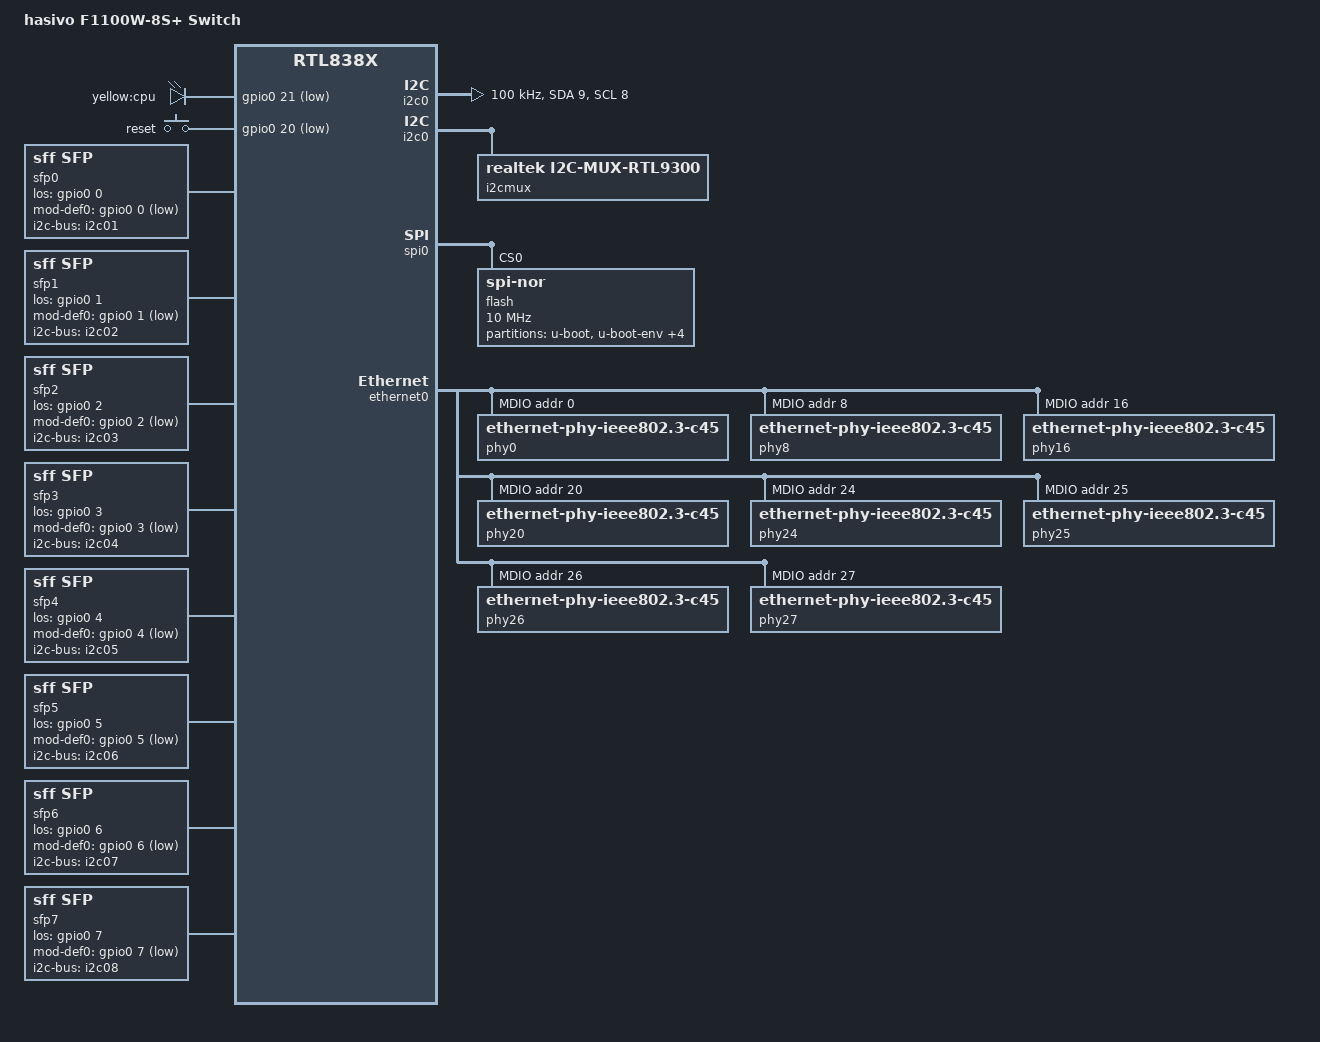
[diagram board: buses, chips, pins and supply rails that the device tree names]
// SPDX-License-Identifier: GPL-2.0-or-later
/dts-v1/;

#include "rtl930x.dtsi"

#include <dt-bindings/input/input.h>
#include <dt-bindings/gpio/gpio.h>

/ {
	compatible = "hasivo,f1100w-8splus", "realtek,rtl838x-soc";
	model = "hasivo F1100W-8S+ Switch";

	aliases {
		led-boot = &led_cpu;
		led-failsafe = &led_cpu;
		led-running = &led_cpu;
		led-upgrade = &led_cpu;
	};

	leds {
		compatible = "gpio-leds";

		led_cpu: led {
			label = "yellow:cpu";
			gpios = <&gpio0 21 GPIO_ACTIVE_LOW>;
		};
    };

	led_set: led_set@0 {
		compatible = "realtek,rtl9300-leds";
		led_set0 = <0xffff 0x0a01 0x0a01 0x0ba0>;
	};

	keys {
		compatible = "gpio-keys-polled";
		poll-interval = <20>;

		reset {
			label = "reset";
			gpios = <&gpio0 20 GPIO_ACTIVE_LOW>;
			linux,code = <KEY_RESTART>;
		};
	};

	i2c0: i2c-rtl9300 {
		compatible = "realtek,rtl9300-i2c";
		reg = <0x1b00036c 0x3c>;
		#address-cells = <1>;
		#size-cells = <0>;
		sda-pin = <9>;
		scl-pin = <8>;
		clock-frequency = <100000>;
	};

	i2cmux {
		compatible = "realtek,i2c-mux-rtl9300";
		#address-cells = <1>;
		#size-cells = <0>;
		i2c-parent = <&i2c0>;

		i2c01: i2c-rtl9300-1 {
			reg = <1>;
			#address-cells = <1>;
			#size-cells = <0>;
			sda-pin = <9>;
			scl-pin = <8>;
		};

		i2c02: i2c-rtl9300-2 {
			reg = <2>;
			#address-cells = <1>;
			#size-cells = <0>;
			sda-pin = <10>;
			scl-pin = <8>;
		};

		i2c03: i2c-rtl9300-3 {
			reg = <3>;
			#address-cells = <1>;
			#size-cells = <0>;
			sda-pin = <11>;
			scl-pin = <8>;
		};
		
		i2c04: i2c-rtl9300-4 {
			reg = <4>;
			#address-cells = <1>;
			#size-cells = <0>;
			sda-pin = <12>;
			scl-pin = <8>;
		};

		i2c05: i2c-rtl9300-5 {
			reg = <5>;
			#address-cells = <1>;
			#size-cells = <0>;
			sda-pin = <13>;
			scl-pin = <8>;
		};

		i2c06: i2c-rtl9300-6 {
			reg = <6>;
			#address-cells = <1>;
			#size-cells = <0>;
			sda-pin = <14>;
			scl-pin = <8>;
		};

		i2c07: i2c-rtl9300-7 {
			reg = <7>;
			#address-cells = <1>;
			#size-cells = <0>;
			sda-pin = <15>;
			scl-pin = <8>;
		};
	
		i2c08: i2c-rtl9300-8 {
			reg = <8>;
			#address-cells = <1>;
			#size-cells = <0>;
			sda-pin = <16>;
			scl-pin = <8>;
		};
	};

	sfp0: sfp-p1 {
		compatible = "sff,sfp";
		i2c-bus = <&i2c01>;
		los-gpio = <&gpio0 0 GPIO_ACTIVE_HIGH>;
		mod-def0-gpio = <&gpio0 0 GPIO_ACTIVE_LOW>;
	};
	sfp1: sfp-p2 {
		compatible = "sff,sfp";
		i2c-bus = <&i2c02>;
		los-gpio = <&gpio0 1 GPIO_ACTIVE_HIGH>;
		mod-def0-gpio = <&gpio0 1 GPIO_ACTIVE_LOW>;
	};
	sfp2: sfp-p3 {
		compatible = "sff,sfp";
		i2c-bus = <&i2c03>;
		los-gpio = <&gpio0 2 GPIO_ACTIVE_HIGH>;
		mod-def0-gpio = <&gpio0 2 GPIO_ACTIVE_LOW>;
	};
	sfp3: sfp-p4 {
		compatible = "sff,sfp";
		i2c-bus = <&i2c04>;
		los-gpio = <&gpio0 3 GPIO_ACTIVE_HIGH>;
		mod-def0-gpio = <&gpio0 3 GPIO_ACTIVE_LOW>;
	};
	sfp4: sfp-p5 {
		compatible = "sff,sfp";
		i2c-bus = <&i2c05>;
		los-gpio = <&gpio0 4 GPIO_ACTIVE_HIGH>;
		mod-def0-gpio = <&gpio0 4 GPIO_ACTIVE_LOW>;
	};
	sfp5: sfp-p6 {
		compatible = "sff,sfp";
		i2c-bus = <&i2c06>;
		los-gpio = <&gpio0 5 GPIO_ACTIVE_HIGH>;
		mod-def0-gpio = <&gpio0 5 GPIO_ACTIVE_LOW>;
	};
	sfp6: sfp-p7 {
		compatible = "sff,sfp";
		i2c-bus = <&i2c07>;
		los-gpio = <&gpio0 6 GPIO_ACTIVE_HIGH>;
		mod-def0-gpio = <&gpio0 6 GPIO_ACTIVE_LOW>;
	};
	sfp7: sfp-p8 {
		compatible = "sff,sfp";
		i2c-bus = <&i2c08>;
		los-gpio = <&gpio0 7 GPIO_ACTIVE_HIGH>;
		mod-def0-gpio = <&gpio0 7 GPIO_ACTIVE_LOW>;
	};
};

&spi0 {
	status = "okay";
	flash@0 {
		compatible = "jedec,spi-nor";
		reg = <0>;
		spi-max-frequency = <10000000>;

		partitions {
			compatible = "fixed-partitions";
			#address-cells = <1>;
			#size-cells = <1>;

			partition@0 {
				label = "u-boot";
				reg = <0x0 0xe0000>;
				read-only;
			};
			partition@e0000 {
				label = "u-boot-env";
				reg = <0xe0000 0x10000>;
			};
			partition@f0000 {
				label = "u-boot-env2";
				reg = <0xf0000 0x10000>;
				read-only;
			};
			partition@100000 {
				label = "jffs";
				reg = <0x100000 0x100000>;
			};
			partition@200000 {
				label = "jffs2";
				reg = <0x200000 0x100000>;
			};
			partition@300000 {
				label = "firmware";
				reg = <0x300000 0x1d00000>;
				compatible = "denx,uimage";
			};
		};
	};
};

&ethernet0 {
	mdio: mdio-bus {
		compatible = "realtek,rtl838x-mdio";
		regmap = <&ethernet0>;
		#address-cells = <1>;
		#size-cells = <0>;

		/* Internal phy for SFP+ ports */
		phy0: ethernet-phy@0 {
			reg = <0>;
			compatible = "ethernet-phy-ieee802.3-c45";
			phy-is-integrated;
			rtl9300,smi-address = <3 0>;
			sds = < 2 >;
		};
		phy8: ethernet-phy@8 {
			reg = <8>;
			compatible = "ethernet-phy-ieee802.3-c45";
			phy-is-integrated;
			rtl9300,smi-address = <3 8>;
			sds = < 3 >;
		};
		phy16: ethernet-phy@16 {
			reg = <16>;
			compatible = "ethernet-phy-ieee802.3-c45";
			phy-is-integrated;
			rtl9300,smi-address = <3 16>;
			sds = < 4 >;
		};
		phy20: ethernet-phy@20 {
			reg = <20>;
			compatible = "ethernet-phy-ieee802.3-c45";
			phy-is-integrated;
			rtl9300,smi-address = <3 20>;
			sds = < 5 >;
		};
		phy24: ethernet-phy@24 {
			reg = <24>;
			compatible = "ethernet-phy-ieee802.3-c45";
			phy-is-integrated;
			rtl9300,smi-address = <3 24>;
			sds = < 6 >;
		};
		phy25: ethernet-phy@25 {
			reg = <25>;
			compatible = "ethernet-phy-ieee802.3-c45";
			phy-is-integrated;
			rtl9300,smi-address = <3 25>;
			sds = < 7 >;
		};
		phy26: ethernet-phy@26 {
			reg = <26>;
			compatible = "ethernet-phy-ieee802.3-c45";
			phy-is-integrated;
			rtl9300,smi-address = <3 26>;
			sds = < 8 >;
		};
		phy27: ethernet-phy@27 {
			reg = <27>;
			compatible = "ethernet-phy-ieee802.3-c45";
			phy-is-integrated;
			rtl9300,smi-address = <3 27>;
			sds = < 9 >;
		};
	};
};

&switch0 {
	ports {
		#address-cells = <1>;
		#size-cells = <0>;

		port@0 {
			reg = <0>;
			label = "lan1";
			phy-mode = "10gbase-r";
			phy-handle = <&phy0>;
			sfp = <&sfp0>;
			led-num = <3>;
			led-set = <0>;

			fixed-link {
				speed = <10000>;
				full-duplex;
				pause;
			};
		};

		port@8 {
			reg = <8>;
			label = "lan2";
			phy-mode = "10gbase-r";
			phy-handle = <&phy8>;
			sfp = <&sfp1>;
			led-num = <3>;
			led-set = <0>;

			fixed-link {
				speed = <10000>;
				full-duplex;
				pause;
			};
		};

		port@16 {
			reg = <16>;
			label = "lan3";
			phy-mode = "10gbase-r";
			phy-handle = <&phy16>;
			sfp = <&sfp2>;
			led-num = <3>;
			led-set = <0>;

			fixed-link {
				speed = <10000>;
				full-duplex;
				pause;
			};
		};

		port@20 {
			reg = <20>;
			label = "lan4";
			phy-mode = "10gbase-r";
			phy-handle = <&phy20>;
			sfp = <&sfp3>;
			led-num = <3>;
			led-set = <0>;

			fixed-link {
				speed = <10000>;
				full-duplex;
				pause;
			};
		};

		port@24 {
			reg = <24>;
			label = "lan5";
			phy-mode = "10gbase-r";
			phy-handle = <&phy24>;
			sfp = <&sfp4>;
			led-num = <3>;
			led-set = <0>;

			fixed-link {
				speed = <10000>;
				full-duplex;
				pause;
			};
		};

		port@25 {
			reg = <25>;
			label = "lan6";
			phy-mode = "10gbase-r";
			phy-handle = <&phy25>;
			sfp = <&sfp5>;
			led-num = <3>;
			led-set = <0>;

			fixed-link {
				speed = <10000>;
				full-duplex;
				pause;
			};
		};

		port@26 {
			reg = <26>;
			label = "lan7";
			phy-mode = "10gbase-r";
			phy-handle = <&phy26>;
			sfp = <&sfp6>;
			led-num = <3>;
			led-set = <0>;

			fixed-link {
				speed = <10000>;
				full-duplex;
				pause;
			};
		};

		port@27 {
			reg = <27>;
			label = "lan8";
			phy-mode = "10gbase-r";
			phy-handle = <&phy27>;
			sfp = <&sfp7>;
			led-num = <3>;
			led-set = <0>;

			fixed-link {
				speed = <10000>;
				full-duplex;
				pause;
			};
		};

		port@28 {
			ethernet = <&ethernet0>;
			reg = <28>;
			phy-mode = "internal";
			fixed-link {
				speed = <10000>;
				full-duplex;
			};
		};
	};
};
